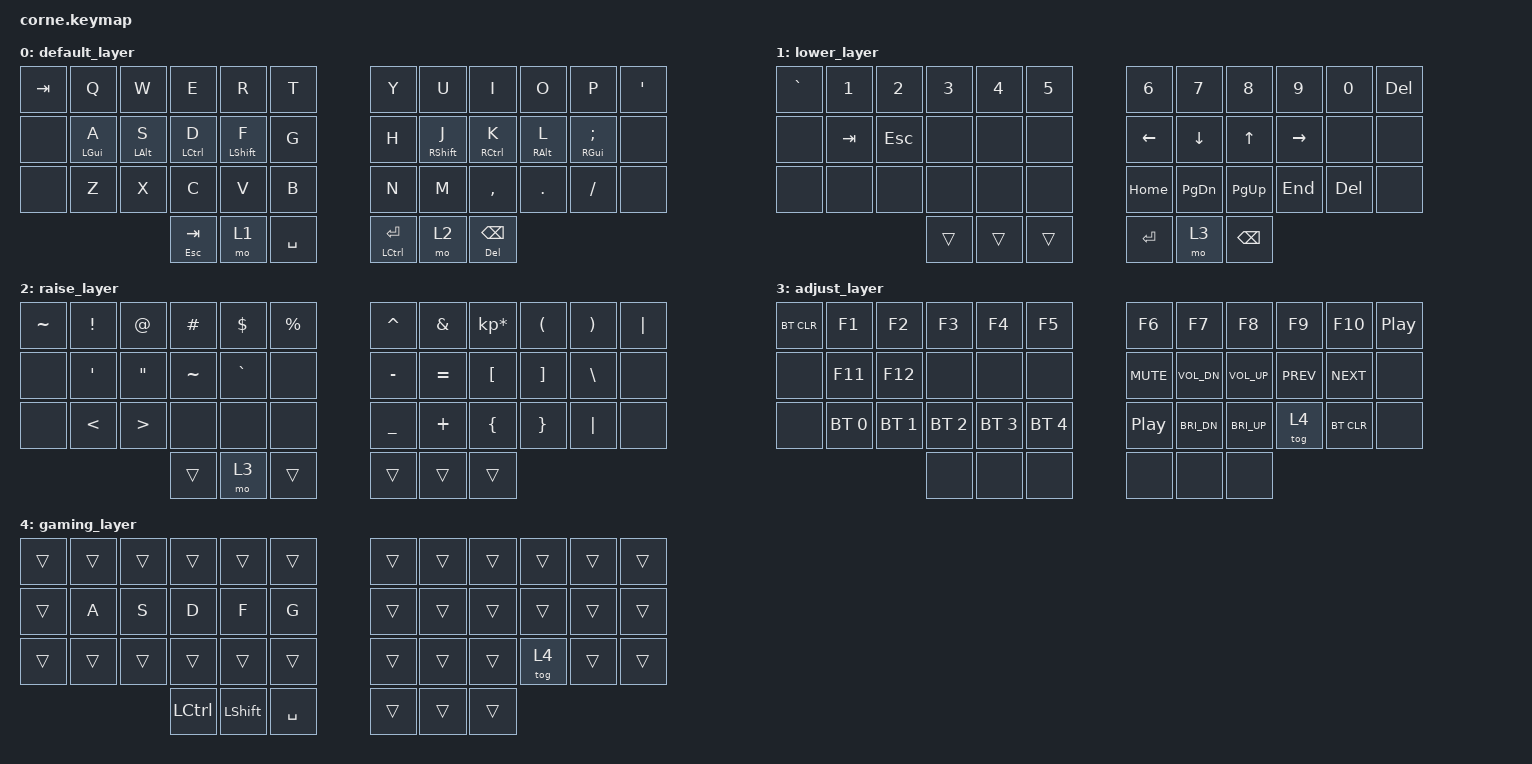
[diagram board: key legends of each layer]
#include <behaviors.dtsi>
#include <dt-bindings/zmk/keys.h>
#include <dt-bindings/zmk/bt.h>

/ {
    behaviors {
        hm: home_row_mods {
            compatible = "zmk,behavior-hold-tap";
            label = "HOME_ROW_MODS";
            #binding-cells = <2>;
            tapping-term-ms = <200>;
            quick-tap-ms = <150>;
            require-prior-idle-ms = <150>;
            flavor = "balanced";
            bindings = <&kp>, <&kp>;
        };

        // Thumb hold-tap: faster tapping term for responsive thumb keys
        th: thumb_hold_tap {
            compatible = "zmk,behavior-hold-tap";
            label = "THUMB_HOLD_TAP";
            #binding-cells = <2>;
            tapping-term-ms = <180>;
            quick-tap-ms = <150>;
            flavor = "tap-preferred";
            bindings = <&kp>, <&kp>;
        };
    };

    combos {
        compatible = "zmk,combos";
        combo_esc {
            timeout-ms = <150>; // Increased window to allow one after the other
            key-positions = <19 20>; 
            bindings = <&kp ESC>;
            /* This allows 'slop' in your typing so they don't 
               have to be frame-perfect */
        };
    };

    keymap {
        compatible = "zmk,keymap";

        // LAYER 0: QWERTY; outer keys exist only on the 6-column boards
        default_layer {
            bindings = <
    &kp TAB     &kp Q       &kp W       &kp E        &kp R        &kp T          &kp Y   &kp U        &kp I        &kp O       &kp P       &kp SQT
    &none       &hm LGUI A  &hm LALT S  &hm LCTRL D  &hm LSHFT F  &kp G          &kp H   &hm RSHFT J  &hm RCTRL K  &hm RALT L  &hm RGUI SEMI &none
    &none       &kp Z       &kp X       &kp C        &kp V        &kp B          &kp N   &kp M        &kp COMMA    &kp DOT     &kp FSLH    &none
                                         &th ESC TAB  &mo 1        &kp SPACE      &th LCTRL RET &mo 2   &th DEL BSPC
            >;
        };

        // LAYER 1: NAV & NUMBER
        lower_layer {
            bindings = <
    &kp GRAVE &kp N1   &kp N2   &kp N3   &kp N4   &kp N5     &kp N6    &kp N7    &kp N8    &kp N9    &kp N0    &kp DEL
    &none   &kp TAB  &kp ESC  &none    &none    &none      &kp LEFT  &kp DOWN  &kp UP    &kp RIGHT &none     &none
    &none   &none    &none    &none    &none    &none      &kp HOME  &kp PG_DN &kp PG_UP &kp END   &kp DEL   &none
                              &trans   &trans   &trans     &kp RET   &mo 3     &kp BSPC
            >;
        };

        // LAYER 2: SYMBOL
        raise_layer {
            bindings = <
    &kp TILDE &kp EXCL &kp AT   &kp HASH  &kp DLLR  &kp PRCNT   &kp CARET &kp AMPS  &kp KP_MULTIPLY &kp LPAR &kp RPAR &kp PIPE
    &none    &kp SQT  &kp DQT  &kp TILDE &kp GRAVE &none       &kp MINUS &kp EQUAL &kp LBKT        &kp RBKT &kp BSLH &none
    &none    &kp LT   &kp GT   &none     &none     &none       &kp UNDER &kp PLUS  &kp LBRC        &kp RBRC &kp PIPE &none
                               &trans    &mo 3     &trans      &trans    &trans    &trans
            >;
        };

        // LAYER 3: ADJUST (F-Keys, Media, BT, gaming toggle)
        adjust_layer {
            bindings = <
    &bt BT_CLR &kp F1       &kp F2       &kp F3       &kp F4       &kp F5        &kp F6      &kp F7      &kp F8      &kp F9      &kp F10     &kp C_PP
    &none   &kp F11      &kp F12      &none        &none        &none         &kp C_MUTE  &kp C_VOL_DN &kp C_VOL_UP &kp C_PREV &kp C_NEXT  &none
    &none   &bt BT_SEL 0 &bt BT_SEL 1 &bt BT_SEL 2 &bt BT_SEL 3 &bt BT_SEL 4  &kp C_PP    &kp C_BRI_DN &kp C_BRI_UP &tog 4   &bt BT_CLR  &none
                                      &none        &none        &none         &none       &none       &none
            >;
        };

        // LAYER 4: GAME — direct left-hand keys, dedicated Ctrl and Shift thumbs
        gaming_layer {
            bindings = <
    &trans  &trans  &trans  &trans  &trans  &trans     &trans  &trans  &trans  &trans  &trans  &trans
    &trans  &kp A   &kp S   &kp D   &kp F   &kp G      &trans  &trans  &trans  &trans  &trans  &trans
    &trans  &trans  &trans  &trans  &trans  &trans     &trans  &trans  &trans  &tog 4  &trans  &trans
                            &kp LCTRL  &kp LSHFT  &kp SPACE  &trans  &trans  &trans
            >;
        };
    };
};
